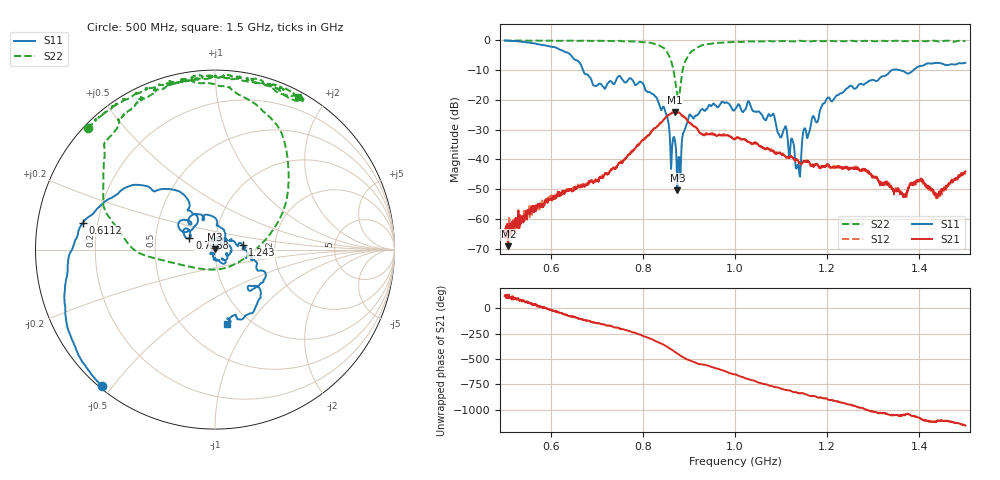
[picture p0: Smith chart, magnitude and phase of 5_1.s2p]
!Agilent Technologies,E8364B,US42250235,A.06.04.32
!Agilent E8364B: A.06.04.32
!Date: Friday, January 15, 2021 16:10:46
!Correction: S11(Full 2 Port(1,2)) S21(Full 2 Port(1,2)) S12(Full 2 Port(1,2)) S22(Full 2 Port(1,2))
!S2P File: Measurements: S11, S21, S12, S22:
# Hz S  dB  R 50
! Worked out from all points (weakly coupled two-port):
!   1601 points, 500 MHz to 1.5 GHz, reference 50 ohm
!   highest |S21| = -24.19 dB at 868.8 MHz (marker M1); lowest = -69.1 dB at 508.1 MHz (marker M2)
!   lowest |S11| = -50.4 dB at 875 MHz (marker M3), VSWR 1.01, Z = 50.1 + j0.274 ohm
!   |S11| at or under -10 dB: 670 MHz to 1.341 GHz (671 MHz wide, 66.7 % of centre); 1.357 GHz to 1.387 GHz (30.61 MHz wide, 2.23 % of centre)
!   |S22| runs from -19.1 to -0.1 dB; largest |S21 - S12| = 0.0029
!   S11 on the Smith chart (normalised r, x): 500 MHz: 0.01, -0.47; 611.2 MHz: 0.14, +0.10; 718.8 MHz: 0.75, +0.10; 1.243 GHz: 1.36, +0.07; 1.5 GHz: 0.79, -0.79
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5e8  -0.11 -129.6  -66.33 121.6  -64.11 104.5  -0.17 136.3
5.08125e8  -0.16 -133.0  -69.14 97.3  -63.16 116.6  -0.18 135.0
6.1125e8  -2.50 168.4  -52.44 -26.6  -51.79 -27.7  -0.20 124.3
6.66875e8  -8.75 120.4  -49.05 -105.6  -48.40 -109.7  -0.22 116.6
7.1875e8  -16.14 156.1  -44.85 -164.0  -44.64 -167.1  -0.28 111.7
7.7375e8  -12.84 120.3  -37.77 130.7  -37.45 128.8  -0.41 98.5
8.3375e8  -20.88 51.0  -28.61 25.9  -28.55 23.3  -1.66 72.0
8.6875e8  -33.12 12.3  -24.19 -67.3  -24.24 -69.2  -12.14 4.4
8.75e8  -50.38 64.5  -24.30 -84.8  -24.35 -85.9  -18.23 -52.2
8.7875e8  -39.54 82.7  -24.32 -97.7  -24.34 -99.0  -18.60 -109.2
8.89375e8  -30.66 137.7  -25.71 -126.5  -25.67 -128.0  -8.13 -175.3
9.025e8  -25.01 126.1  -27.89 -153.9  -27.90 -156.4  -4.33 163.6
1e9  -23.27 -16.4  -33.22 69.0  -32.96 67.6  -0.54 115.8
1.081875e9  -24.82 -78.1  -37.08 -49.5  -37.27 -53.4  -0.41 104.4
1.125e9  -33.75 -149.1  -39.35 -102.6  -39.46 -101.3  -0.42 98.3
1.136875e9  -42.07 129.0  -40.29 -113.7  -40.58 -116.9  -0.28 94.3
1.149375e9  -30.03 70.6  -40.73 -118.9  -40.58 -124.1  -0.35 97.3
1.166875e9  -26.33 77.5  -42.14 -142.9  -42.10 -143.9  -0.37 91.5
1.243125e9  -16.17 8.8  -43.01 135.3  -42.76 136.9  -0.31 84.3
1.33375e9  -11.00 -24.4  -48.26 32.8  -48.71 33.6  -0.38 77.2
1.44e9  -7.61 -69.0  -52.06 -23.6  -51.57 -28.3  -0.40 70.5
1.5e9  -7.59 -81.2  -44.03 -73.6  -45.04 -77.5  -0.27 61.6
